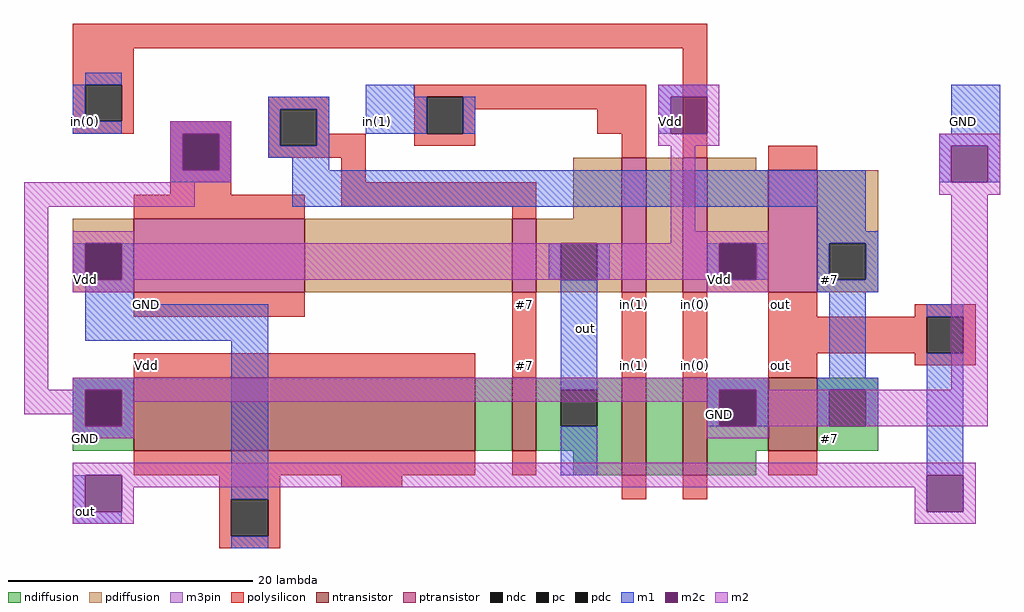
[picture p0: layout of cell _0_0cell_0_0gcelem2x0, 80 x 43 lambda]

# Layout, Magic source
magic
tech sky130l
<< ndiffusion >>
rect 8 15 13 16
rect 8 12 9 15
rect 12 12 13 15
rect 8 10 13 12
rect 41 10 44 16
rect 46 15 53 16
rect 46 12 48 15
rect 51 12 53 15
rect 46 10 53 12
rect 49 8 53 10
rect 55 8 58 16
rect 60 15 65 16
rect 60 12 61 15
rect 64 12 65 15
rect 60 10 65 12
rect 69 15 74 16
rect 69 12 70 15
rect 73 12 74 15
rect 69 10 74 12
rect 60 8 64 10
<< ndc >>
rect 9 12 12 15
rect 48 12 51 15
rect 61 12 64 15
rect 70 12 73 15
<< ntransistor >>
rect 13 10 41 16
rect 44 10 46 16
rect 53 8 55 16
rect 58 8 60 16
rect 65 10 69 16
<< pdiffusion >>
rect 49 29 53 34
rect 8 27 13 29
rect 8 24 9 27
rect 12 24 13 27
rect 8 23 13 24
rect 27 23 44 29
rect 46 27 53 29
rect 46 24 48 27
rect 51 24 53 27
rect 46 23 53 24
rect 55 23 58 34
rect 60 33 64 34
rect 60 27 65 33
rect 60 24 61 27
rect 64 24 65 27
rect 60 23 65 24
rect 69 27 74 33
rect 69 24 70 27
rect 73 24 74 27
rect 69 23 74 24
<< pdc >>
rect 9 24 12 27
rect 48 24 51 27
rect 61 24 64 27
rect 70 24 73 27
<< ptransistor >>
rect 13 23 27 29
rect 44 23 46 29
rect 53 23 55 34
rect 58 23 60 34
rect 65 23 69 33
<< polysilicon >>
rect 8 43 60 45
rect 8 40 13 43
rect 8 37 9 40
rect 12 37 13 40
rect 36 39 55 40
rect 24 38 29 39
rect 8 36 13 37
rect 16 36 21 37
rect 16 33 17 36
rect 20 33 21 36
rect 24 35 25 38
rect 28 36 29 38
rect 36 36 37 39
rect 40 38 55 39
rect 40 36 41 38
rect 51 36 55 38
rect 28 35 32 36
rect 36 35 41 36
rect 24 34 32 35
rect 53 34 55 36
rect 58 34 60 43
rect 16 31 21 33
rect 30 32 32 34
rect 13 29 27 31
rect 30 30 46 32
rect 44 29 46 30
rect 65 33 69 35
rect 13 21 27 23
rect 13 16 41 18
rect 44 16 46 23
rect 53 16 55 23
rect 58 16 60 23
rect 65 21 69 23
rect 77 21 82 22
rect 65 18 78 21
rect 81 18 82 21
rect 65 16 69 18
rect 77 17 82 18
rect 13 8 41 10
rect 44 8 46 10
rect 65 8 69 10
rect 20 6 25 8
rect 30 7 35 8
rect 53 6 55 8
rect 58 6 60 8
rect 20 3 21 6
rect 24 3 25 6
rect 20 2 25 3
<< pc >>
rect 9 37 12 40
rect 17 33 20 36
rect 25 35 28 38
rect 37 36 40 39
rect 78 18 81 21
rect 21 3 24 6
<< m1 >>
rect 9 40 12 41
rect 8 37 9 40
rect 32 39 36 40
rect 56 39 60 40
rect 24 38 29 39
rect 8 36 12 37
rect 16 36 21 37
rect 16 33 17 36
rect 20 33 21 36
rect 24 35 25 38
rect 28 35 29 38
rect 32 36 37 39
rect 40 36 41 39
rect 56 36 57 39
rect 80 36 84 40
rect 24 34 29 35
rect 16 32 21 33
rect 26 33 29 34
rect 79 35 84 36
rect 26 30 73 33
rect 79 32 80 35
rect 83 32 84 35
rect 69 28 73 30
rect 69 27 74 28
rect 8 24 9 27
rect 12 24 13 27
rect 47 24 48 27
rect 51 24 52 27
rect 60 24 61 27
rect 64 24 65 27
rect 69 24 70 27
rect 73 24 74 27
rect 9 22 13 24
rect 9 19 24 22
rect 8 15 13 16
rect 8 12 9 15
rect 12 12 13 15
rect 8 11 13 12
rect 8 5 9 8
rect 8 4 12 5
rect 21 6 24 19
rect 48 15 51 24
rect 69 23 74 24
rect 70 16 73 23
rect 78 21 81 22
rect 60 15 65 16
rect 60 12 61 15
rect 64 12 65 15
rect 69 15 74 16
rect 69 12 70 15
rect 73 12 74 15
rect 48 8 51 12
rect 78 8 81 18
rect 21 2 24 3
<< m2c >>
rect 17 33 20 36
rect 57 36 60 39
rect 80 32 83 35
rect 9 24 12 27
rect 61 24 64 27
rect 9 12 12 15
rect 9 5 12 8
rect 61 12 64 15
rect 78 5 81 8
<< m2 >>
rect 56 39 61 40
rect 16 36 21 37
rect 16 33 17 36
rect 20 33 21 36
rect 56 36 57 39
rect 60 36 61 39
rect 56 35 61 36
rect 79 35 84 36
rect 16 32 21 33
rect 4 30 18 32
rect 4 15 6 30
rect 57 28 59 35
rect 79 32 80 35
rect 83 32 84 35
rect 79 31 84 32
rect 8 27 13 28
rect 57 27 65 28
rect 8 24 9 27
rect 12 24 61 27
rect 64 24 65 27
rect 8 23 13 24
rect 60 23 65 24
rect 8 15 65 16
rect 80 15 83 31
rect 4 13 9 15
rect 8 12 9 13
rect 12 14 61 15
rect 12 12 13 14
rect 8 11 13 12
rect 60 12 61 14
rect 64 12 83 15
rect 60 11 65 12
rect 8 8 82 9
rect 8 5 9 8
rect 12 7 78 8
rect 12 5 13 7
rect 8 4 13 5
rect 77 5 78 7
rect 81 5 82 8
rect 77 4 82 5
<< m3pin >>
rect 9 12 12 15
<< labels >>
rlabel pdiffusion 70 24 70 24 3 #7
rlabel polysilicon 66 17 66 17 3 out
rlabel polysilicon 66 22 66 22 3 out
rlabel ndiffusion 70 11 70 11 3 #7
rlabel pdiffusion 61 24 61 24 3 Vdd
rlabel polysilicon 59 17 59 17 3 in(0)
rlabel polysilicon 59 22 59 22 3 in(0)
rlabel polysilicon 54 17 54 17 3 in(1)
rlabel polysilicon 54 22 54 22 3 in(1)
rlabel polysilicon 45 17 45 17 3 #7
rlabel polysilicon 45 22 45 22 3 #7
rlabel polysilicon 14 17 14 17 3 Vdd
rlabel polysilicon 14 22 14 22 3 GND
rlabel ndiffusion 9 11 9 11 3 GND
rlabel pdiffusion 9 24 9 24 3 Vdd
rlabel m1 81 37 81 37 3 GND
port 1 e
rlabel m1 57 37 57 37 3 Vdd
port 2 e
rlabel m1 33 37 33 37 3 in(1)
port 3 e
rlabel m1 9 5 9 5 3 out
port 4 e
rlabel m1 9 37 9 37 3 in(0)
port 5 e
rlabel m2 61 13 61 13 1 GND
rlabel m1 50 20 50 20 1 out
<< end >>
